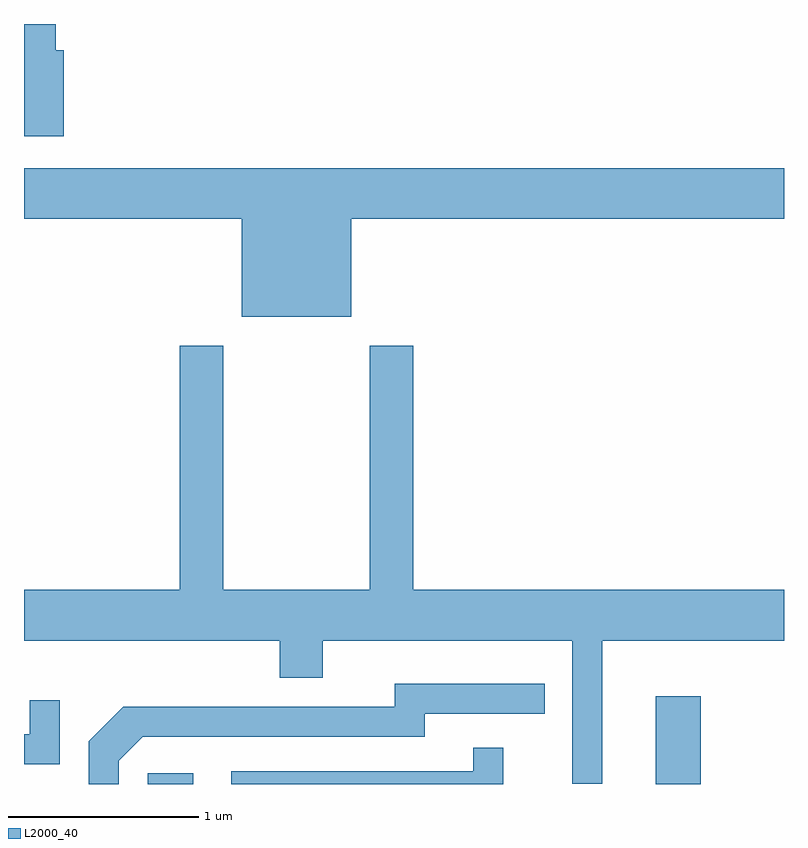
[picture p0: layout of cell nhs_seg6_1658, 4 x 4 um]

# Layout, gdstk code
import gdstk
lib = gdstk.Library(unit=1e-6, precision=1e-09)
def R(c, l, rs):  # rectangles x0, y0, x1, y1
    for r in rs: c.add(gdstk.rectangle(r[:2], r[2:], *l))
def P(c, l, *ps):  # polygons
    for p in ps: c.add(gdstk.Polygon(p, *l))
L2000_40 = (2000, 40)

nhs_seg6_1658 = lib.new_cell('nhs_seg6_1658')
R(nhs_seg6_1658, L2000_40, [(236.261,1558.162,236.503,1558.219), (238.936,1558.162,239.174,1558.624)])
P(nhs_seg6_1658, L2000_40, [(235.819,1562.024),(235.779,1562.024),(235.779,1562.162),(235.611,1562.162),(235.611,1561.571),(235.819,1561.571)],
  [(237.334,1561.136),(239.611,1561.136),(239.611,1561.404),(235.611,1561.404),(235.611,1561.136),(236.756,1561.136),(236.756,1560.621),(237.334,1560.621)],
  [(238.654,1558.916),(239.611,1558.916),(239.611,1559.184),(237.659,1559.184),(237.659,1560.469),(237.431,1560.469),(237.431,1559.184),(236.659,1559.184),(236.659,1560.469),(236.431,1560.469),(236.431,1559.184),(235.611,1559.184),(235.611,1558.916),(236.956,1558.916),(236.956,1558.721),(237.184,1558.721),(237.184,1558.916),(238.496,1558.916),(238.496,1558.163),(238.654,1558.163)],
  [(236.109,1558.284),(236.237,1558.411),(237.719,1558.411),(237.719,1558.531),(238.353,1558.531),(238.353,1558.689),(237.561,1558.689),(237.561,1558.569),(236.134,1558.569),(235.951,1558.387),(235.951,1558.162),(236.109,1558.162)],
  [(235.799,1558.603),(235.641,1558.603),(235.641,1558.424),(235.611,1558.424),(235.611,1558.266),(235.799,1558.266)],
  [(238.134,1558.353),(237.976,1558.353),(237.976,1558.229),(236.703,1558.229),(236.703,1558.162),(238.134,1558.162)])

lib.write_gds('nhs_seg6_1658.gds')
